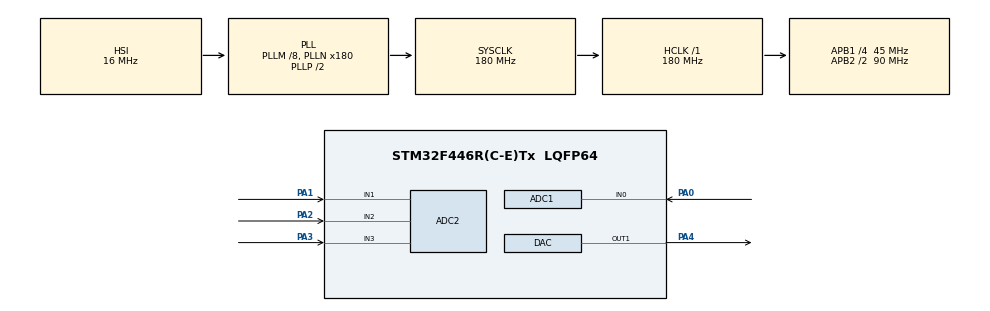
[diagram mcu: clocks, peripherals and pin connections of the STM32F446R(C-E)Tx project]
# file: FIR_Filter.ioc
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ADC1.Channel-0\#ChannelRegularConversion=ADC_CHANNEL_0
ADC1.DMAContinuousRequests=ENABLE
ADC1.ExternalTrigConv=ADC_EXTERNALTRIGCONV_T8_TRGO
ADC1.NbrOfConversionFlag=1
ADC1.Rank-0\#ChannelRegularConversion=1
ADC1.SamplingTime-0\#ChannelRegularConversion=ADC_SAMPLETIME_3CYCLES
ADC1.master=1
ADC2.Channel-0\#ChannelRegularConversion=ADC_CHANNEL_1
ADC2.Channel-1\#ChannelRegularConversion=ADC_CHANNEL_2
ADC2.Channel-2\#ChannelRegularConversion=ADC_CHANNEL_3
ADC2.ContinuousConvMode=ENABLE
ADC2.DMAContinuousRequests=ENABLE
ADC2.NbrOfConversion=3
ADC2.NbrOfConversionFlag=1
ADC2.Rank-0\#ChannelRegularConversion=1
ADC2.Rank-1\#ChannelRegularConversion=2
ADC2.Rank-2\#ChannelRegularConversion=3
ADC2.SamplingTime-0\#ChannelRegularConversion=ADC_SAMPLETIME_144CYCLES
ADC2.SamplingTime-1\#ChannelRegularConversion=ADC_SAMPLETIME_3CYCLES
ADC2.SamplingTime-2\#ChannelRegularConversion=ADC_SAMPLETIME_56CYCLES
ADC2.ScanConvMode=ENABLE
DAC.DAC_Trigger=DAC_TRIGGER_T8_TRGO
Dma.ADC1.1.Direction=DMA_PERIPH_TO_MEMORY
Dma.ADC1.1.FIFOMode=DMA_FIFOMODE_DISABLE
Dma.ADC1.1.Instance=DMA2_Stream0
Dma.ADC1.1.MemDataAlignment=DMA_MDATAALIGN_WORD
Dma.ADC1.1.MemInc=DMA_MINC_ENABLE
Dma.ADC1.1.Mode=DMA_CIRCULAR
Dma.ADC1.1.PeriphDataAlignment=DMA_PDATAALIGN_WORD
Dma.ADC1.1.PeriphInc=DMA_PINC_DISABLE
Dma.ADC1.1.Priority=DMA_PRIORITY_LOW
Dma.ADC2.2.Direction=DMA_PERIPH_TO_MEMORY
Dma.ADC2.2.FIFOMode=DMA_FIFOMODE_DISABLE
Dma.ADC2.2.Instance=DMA2_Stream2
Dma.ADC2.2.MemDataAlignment=DMA_MDATAALIGN_HALFWORD
Dma.ADC2.2.MemInc=DMA_MINC_ENABLE
Dma.ADC2.2.Mode=DMA_CIRCULAR
Dma.ADC2.2.PeriphDataAlignment=DMA_PDATAALIGN_HALFWORD
Dma.ADC2.2.PeriphInc=DMA_PINC_DISABLE
Dma.ADC2.2.Priority=DMA_PRIORITY_LOW
Dma.DAC1.0.Direction=DMA_MEMORY_TO_PERIPH
Dma.DAC1.0.FIFOMode=DMA_FIFOMODE_DISABLE
Dma.DAC1.0.Instance=DMA1_Stream5
Dma.DAC1.0.MemDataAlignment=DMA_MDATAALIGN_WORD
Dma.DAC1.0.MemInc=DMA_MINC_ENABLE
Dma.DAC1.0.Mode=DMA_CIRCULAR
Dma.DAC1.0.PeriphDataAlignment=DMA_PDATAALIGN_WORD
Dma.DAC1.0.PeriphInc=DMA_PINC_DISABLE
Dma.DAC1.0.Priority=DMA_PRIORITY_LOW
Dma.Request0=DAC1
Dma.Request1=ADC1
Dma.Request2=ADC2
Mcu.Family=STM32F4
Mcu.Name=STM32F446R(C-E)Tx
Mcu.Package=LQFP64
NVIC.DMA1_Stream5_IRQn=true\:0\:0\:false\:false\:true\:false\:true\:true
NVIC.DMA2_Stream0_IRQn=true\:0\:0\:false\:false\:true\:false\:true\:true
NVIC.DMA2_Stream2_IRQn=true\:0\:0\:false\:false\:true\:false\:true\:true
NVIC.PriorityGroup=NVIC_PRIORITYGROUP_4
PA0-WKUP.Signal=ADCx_IN0
PA1.Signal=ADCx_IN1
PA13.Mode=Serial_Wire
PA13.Signal=SYS_JTMS-SWDIO
PA14.Mode=Serial_Wire
PA14.Signal=SYS_JTCK-SWCLK
PA2.Signal=ADCx_IN2
PA3.Signal=ADCx_IN3
PA4.Signal=COMP_DAC1_group
PH0-OSC_IN.Mode=HSE-External-Oscillator
PH0-OSC_IN.Signal=RCC_OSC_IN
PH1-OSC_OUT.Mode=HSE-External-Oscillator
PH1-OSC_OUT.Signal=RCC_OSC_OUT
ProjectManager.HeapSize=0x200
ProjectManager.StackSize=0x400
ProjectManager.TargetToolchain=STM32CubeIDE
RCC.AHBFreq_Value=180000000
RCC.APB1CLKDivider=RCC_HCLK_DIV4
RCC.APB1Freq_Value=45000000
RCC.APB1TimFreq_Value=90000000
RCC.APB2CLKDivider=RCC_HCLK_DIV2
RCC.APB2Freq_Value=90000000
RCC.APB2TimFreq_Value=180000000
RCC.CortexFreq_Value=180000000
RCC.HCLKFreq_Value=180000000
RCC.PLLM=8
RCC.PLLN=180
RCC.SYSCLKFreq_VALUE=180000000
RCC.SYSCLKSource=RCC_SYSCLKSOURCE_PLLCLK
RCC.USBFreq_Value=180000000
RCC.VCOOutputFreq_Value=360000000
SH.ADCx_IN0.0=ADC1_IN0,IN0
SH.ADCx_IN1.0=ADC2_IN1,IN1
SH.ADCx_IN2.0=ADC2_IN2,IN2
SH.ADCx_IN3.0=ADC2_IN3,IN3
SH.COMP_DAC1_group.0=DAC_OUT1,DAC_OUT1
TIM8.Period=10
TIM8.Prescaler=450
TIM8.TIM_MasterOutputTrigger=TIM_TRGO_UPDATE
VP_TIM8_VS_ClockSourceINT.Mode=Internal
board=custom

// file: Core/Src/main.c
/* USER CODE BEGIN Header */
/**
  ******************************************************************************
  * @file           : main.c
  * @brief          : Ecualizador de 3 Bandas con Filtros FIR
  ******************************************************************************
  * @description
  * Este programa implementa un ecualizador de audio de 3 bandas (graves, medios,
  * agudos) utilizando filtros FIR (Finite Impulse Response) en un microcontrolador
  * STM32. El sistema procesa señales de audio en tiempo real mediante:
  *
  * - ADC1: Captura la señal de audio de entrada a través de DMA
  * - ADC2: Lee 3 potenciómetros para controlar las ganancias de cada banda
  * - DAC: Genera la señal de audio procesada
  * - TIM8: Sincroniza el muestreo del ADC y DAC
  * - ARM CMSIS-DSP: Biblioteca optimizada para procesamiento de señales
  *
  * El procesamiento se realiza en dos mitades del buffer (ping-pong) para
  * minimizar la latencia y evitar pérdida de muestras.
  *
  * @attention
  * Copyright (c) 2025 STMicroelectronics.
  * All rights reserved.
  ******************************************************************************
  */
/* USER CODE END Header */
#include "main.h"

/* USER CODE BEGIN Includes */
#include "arm_math.h" // Biblioteca CMSIS-DSP para procesamiento optimizado
/* USER CODE END Includes */

/* USER CODE BEGIN PD */

// ============================================================================
// CONFIGURACIÓN DE BUFFERS Y FILTROS
// ============================================================================

#define N 32                    // Tamaño total del buffer (muestras)
#define halfN N/2               // Mitad del buffer para procesamiento ping-pong
#define NUM_TAPS 32             // Número de coeficientes de cada filtro FIR

// ============================================================================
// CONFIGURACIÓN DE CONVERSIÓN ADC/DAC
// ============================================================================

// El ADC de 12 bits genera valores de 0 a 4095
// Para procesamiento de señales AC, centramos en 2047.5 (punto medio)
#define ADC_OFFSET 2047.5f      // Offset para centrar señal de entrada en cero
#define DAC_OFFSET 2047         // Offset para centrar señal de salida

/* USER CODE END PD */

ADC_HandleTypeDef hadc1;
ADC_HandleTypeDef hadc2;
DMA_HandleTypeDef hdma_adc1;
DMA_HandleTypeDef hdma_adc2;

DAC_HandleTypeDef hdac;
DMA_HandleTypeDef hdma_dac1;

TIM_HandleTypeDef htim8;

/* USER CODE BEGIN PV */

// ============================================================================
// BUFFERS DE ENTRADA/SALIDA
// ============================================================================

// Buffer circular para captura de audio (valores ADC de 12 bits)
uint32_t adc_buffer[N];

// Buffer circular para salida de audio (valores DAC de 12 bits)
uint32_t dac_buffer[N];

// ============================================================================
// BUFFERS DE PROCESAMIENTO DE SEÑALES (punto flotante para precisión)
// ============================================================================

// Buffer de entrada para filtros (señal centrada en cero)
float32_t filt_in[N];

// Buffer de salida combinada (suma de las 3 bandas)
float32_t filt_out[N];

// Buffers de salida individuales para cada banda de frecuencia
float32_t filt_out_low[N];      // Salida filtro pasa-bajos (graves)
float32_t filt_out_mid[N];      // Salida filtro pasa-banda (medios)
float32_t filt_out_high[N];     // Salida filtro pasa-altos (agudos)

// Punteros para acceso directo a los buffers (optimización)
float32_t *filt_in_ptr = &filt_in[0];
float32_t *filt_out_ptr = &filt_out[0];
float32_t *filt_out_low_ptr = &filt_out_low[0];
float32_t *filt_out_mid_ptr = &filt_out_mid[0];
float32_t *filt_out_high_ptr = &filt_out_high[0];

// ============================================================================
// ESTRUCTURAS DE FILTROS FIR (ARM CMSIS-DSP)
// ============================================================================

// Instancias de filtros FIR para cada banda
arm_fir_instance_f32 filterLow;   // Filtro pasa-bajos: deja pasar graves
arm_fir_instance_f32 filterBand;  // Filtro pasa-banda: deja pasar medios
arm_fir_instance_f32 filterHigh;  // Filtro pasa-altos: deja pasar agudos

// Buffers de estado para cada filtro (necesarios para FIR con memoria)
// Tamaño: halfN + NUM_TAPS - 1 (requerido por CMSIS-DSP)
float32_t StateLow[halfN + NUM_TAPS - 1];
float32_t StateMid[halfN + NUM_TAPS - 1];
float32_t StateHigh[halfN + NUM_TAPS - 1];

// ============================================================================
// COEFICIENTES DE FILTROS FIR
// ============================================================================

/**
 * Coeficientes del filtro pasa-bajos (Lowpass)
 * Permite el paso de frecuencias bajas (graves)
 * Diseñado con respuesta simétrica (fase lineal)
 */
float32_t LowCoeffs[NUM_TAPS] = {
		0.028314228399935807006793098139496578369,
		0.028677143031090316510622884038639313076,
		0.02901982347161971911853051153684646124 ,
		0.029341653042583251687069889612757833675,
		0.029642051039593286104745217812705959659,
		0.029920474095872975212051514404265617486,
		0.030176417459572918433607924271200317889,
		0.030409416181928369815601342907029902562,
		0.030619046213074270490483996809416566975,
		0.030804925402580399934615584811581356917,
		0.030966714402022359198252132728157448582,
		0.031104117467165303539955445444320503157,
		0.031216883157605550963564766675517603289,
		0.031304804931989942129444415286343428306,
		0.031367721637212304941488838494478841312,
		0.031405517890271482384090262485187849961,
		0.031418124351763429547013117826281813905,
		0.031405517890271482384090262485187849961,
		0.031367721637212304941488838494478841312,
		0.031304804931989942129444415286343428306,
		0.031216883157605550963564766675517603289,
		0.031104117467165303539955445444320503157,
		0.030966714402022359198252132728157448582,
		0.030804925402580399934615584811581356917,
		0.030619046213074270490483996809416566975,
		0.030409416181928369815601342907029902562,
		0.030176417459572918433607924271200317889,
		0.029920474095872975212051514404265617486,
		0.029642051039593286104745217812705959659,
		0.029341653042583251687069889612757833675,
		0.02901982347161971911853051153684646124 ,
		0.028677143031090316510622884038639313076
};

/**
 * Coeficientes del filtro pasa-banda (Bandpass)
 * Permite el paso de frecuencias medias
 * Atenúa tanto graves como agudos
 */
float32_t BandCoeffs[NUM_TAPS] = {
		 0                                        ,
		-0.000053366635373974343945456533244708908,
		-0.000009197839776747510521105050118606528,
		 0.000353535997103919161742291432659612838,
		 0.000805629039306712704630875077072005297,
		 0.000328211799665740003306702021745877573,
		-0.002737517146227729653018556632559921127,
		-0.009669687214123487764561026835963275516,
		-0.019644837546352478946376507451532233972,
		-0.028312875036357761787675357822990918066,
		-0.028081891735227539758090742338936252054,
		-0.01091458299741123079418247954208709416 ,
		 0.027132120920916418665980174296237237286,
		 0.081977606714179376834472634527628542855,
		 0.140902208399525441517852186734671704471,
		 0.186476132730579891028099837058107368648,
		 0.203646383744244263702682928851572796702,
		 0.186476132730579891028099837058107368648,
		 0.140902208399525441517852186734671704471,
		 0.081977606714179376834472634527628542855,
		 0.027132120920916418665980174296237237286,
		-0.01091458299741123079418247954208709416 ,
		-0.028081891735227539758090742338936252054,
		-0.028312875036357761787675357822990918066,
		-0.019644837546352478946376507451532233972,
		-0.009669687214123487764561026835963275516,
		-0.002737517146227729653018556632559921127,
		 0.000328211799665740003306702021745877573,
		 0.000805629039306712704630875077072005297,
		 0.000353535997103919161742291432659612838,
		-0.000009197839776747510521105050118606528,
		-0.000053366635373974343945456533244708908
};

/**
 * Coeficientes del filtro pasa-altos (Highpass)
 * Permite el paso de frecuencias altas (agudos)
 * Atenúa frecuencias bajas
 */
float32_t HighCoeffs[NUM_TAPS] = {
		 0.001511545109837736334743030219840420614,
		 0.001882591379028836610712294152847334772,
		 0.002483585545241961348855719293737820408,
		 0.003116059534362420647968239251213162788,
		 0.003343310614823753919300219905608173576,
		 0.002539929188056473403217738749049203761,
		-0.000000000000000015585067345520673885766,
		-0.004914128527513412537930381773776389309,
		-0.012611514421013634429380445567403512541,
		-0.023134852490067567276632587436324683949,
		-0.036077275462792365856579124283598503098,
		-0.050576523872093027967000722355805919506,
		-0.065394665302038482157520604687306331471,
		-0.079074464358267398944590809151122812182,
		-0.090147533401616602999339988855354022235,
		-0.097357957089300478648041803353407885879,
		 0.898746402163526969530948917963542044163,
		-0.097357957089300478648041803353407885879,
		-0.090147533401616602999339988855354022235,
		-0.079074464358267398944590809151122812182,
		-0.065394665302038482157520604687306331471,
		-0.050576523872093027967000722355805919506,
		-0.036077275462792365856579124283598503098,
		-0.023134852490067567276632587436324683949,
		-0.012611514421013634429380445567403512541,
		-0.004914128527513412537930381773776389309,
		-0.000000000000000015585067345520673885766,
		 0.002539929188056473403217738749049203761,
		 0.003343310614823753919300219905608173576,
		 0.003116059534362420647968239251213162788,
		 0.002483585545241961348855719293737820408,
		 0.001882591379028836610712294152847334772
};

// ============================================================================
// VARIABLES DE CONTROL DE GANANCIA
// ============================================================================

// Ganancias lineales aplicadas a cada banda (multiplicadores)
float32_t gainLow;    // Ganancia para graves (0.1 a 10.0 aprox.)
float32_t gainMid;    // Ganancia para medios (0.1 a 10.0 aprox.)
float32_t gainHigh;   // Ganancia para agudos (0.1 a 10.0 aprox.)

// Valores de ganancia en decibelios leídos de los potenciómetros
float32_t db_low;     // Ganancia en dB para graves (-20 a +20 dB)
float32_t db_mid;     // Ganancia en dB para medios (-20 a +20 dB)
float32_t db_high;    // Ganancia en dB para agudos (-20 a +20 dB)

// ============================================================================
// BUFFER DE CONTROL (POTENCIÓMETROS)
// ============================================================================

// Buffer para los 3 canales del ADC2 (potenciómetros de control)
// [0]: Potenciómetro graves
// [1]: Potenciómetro medios
// [2]: Potenciómetro agudos
uint32_t ADC_VAL[3];

// Bandera para indicar que hay nuevos valores de los potenciómetros
volatile uint8_t adc2_ready = 0;

/* USER CODE END PV */

void SystemClock_Config(void);
static void MX_GPIO_Init(void);
static void MX_DMA_Init(void);
static void MX_DAC_Init(void);
static void MX_ADC1_Init(void);
static void MX_TIM8_Init(void);
static void MX_ADC2_Init(void);
/* USER CODE BEGIN PFP */

/**
 * @brief Mapea un valor de un rango a otro linealmente.
 *
 * @param x Valor a mapear
 * @param in_min Valor mínimo del rango de entrada
 * @param in_max Valor máximo del rango de entrada
 * @param out_min Valor mínimo del rango de salida
 * @param out_max Valor máximo del rango de salida
 * @return float32_t Valor mapeado al rango de salida
 *
 * @details
 * Esta función realiza una interpolación lineal para convertir un valor
 * de un rango a otro. Es útil para convertir lecturas del ADC (0-4095)
 * a valores de ganancia en decibelios (-20 a +20 dB).
 *
 * Fórmula: y = m * x + b
 * donde: m = (out_max - out_min) / (in_max - in_min)
 *        b = out_min - m * in_min
 *
 * @example
 * // Convertir lectura ADC a dB
 * float db = map_float(2048, 0, 4095, -20.0f, 20.0f);  // Resultado: ~0 dB
 */
float32_t map_float(uint32_t x, uint32_t in_min, uint32_t in_max, float32_t out_min, float32_t out_max);

/**
 * @brief Convierte una ganancia en decibelios a ganancia lineal.
 *
 * @param db Ganancia en decibelios
 * @return float32_t Ganancia lineal (multiplicador)
 *
 * @details
 * Convierte un valor de ganancia expresado en decibelios (dB) a su
 * equivalente lineal que puede ser aplicado como multiplicador.
 *
 * Fórmula: ganancia_lineal = 10^(dB/20)
 *
 * Ejemplos de conversión:
 * - 0 dB   → 1.0   (sin cambio)
 * - +6 dB  → 2.0   (doble amplitud)
 * - -6 dB  → 0.5   (mitad de amplitud)
 * - +20 dB → 10.0  (diez veces la amplitud)
 * - -20 dB → 0.1   (décima parte de la amplitud)
 */
float32_t gain_db_to_linear(float32_t db);

/* USER CODE END PFP */

int main(void)
{

  /* MCU Configuration--------------------------------------------------------*/

  /* Reset of all peripherals, Initializes the Flash interface and the Systick. */
  HAL_Init();

  /* Configure the system clock */
  SystemClock_Config();

  /* Initialize all configured peripherals */
  MX_GPIO_Init();
  MX_DMA_Init();
  MX_DAC_Init();
  MX_ADC1_Init();
  MX_TIM8_Init();
  MX_ADC2_Init();
  /* USER CODE BEGIN 2 */

  // ============================================================================
  // INICIO DE PERIFÉRICOS CON DMA
  // ============================================================================

  // Inicia ADC1 para capturar audio continuamente
  // - Modo circular: cuando llena el buffer, vuelve al inicio
  // - Genera interrupciones al completar la mitad y el buffer completo
  HAL_ADC_Start_DMA(&hadc1, adc_buffer, N);

  // Inicia ADC2 para leer los 3 potenciómetros
  // - Modo continuo: actualiza constantemente los valores
  HAL_ADC_Start_DMA(&hadc2, ADC_VAL, 3);

  // Inicia DAC para generar la señal de audio procesada
  // - Sincronizado con TIM8 para mantener la frecuencia de muestreo
  // - Alineación a la derecha de 12 bits
  HAL_DAC_Start_DMA(&hdac, DAC_CHANNEL_1, dac_buffer, N, DAC_ALIGN_12B_R);

  // Inicia el timer que sincroniza ADC y DAC
  HAL_TIM_Base_Start(&htim8);

  // ============================================================================
  // INICIALIZACIÓN DE FILTROS FIR
  // ============================================================================

  // Inicializa filtro pasa-bajos (graves)
  // Parámetros: instancia, num_taps, coeficientes, buffer_estado, tamaño_bloque
  arm_fir_init_f32(&filterLow, NUM_TAPS, &LowCoeffs[0], &StateLow[0], halfN);

  // Inicializa filtro pasa-banda (medios)
  arm_fir_init_f32(&filterBand, NUM_TAPS, &BandCoeffs[0], &StateMid[0], halfN);

  // Inicializa filtro pasa-altos (agudos)
  arm_fir_init_f32(&filterHigh, NUM_TAPS, &HighCoeffs[0], &StateHigh[0], halfN);
  /* USER CODE END 2 */

  /* Infinite loop */
  /* USER CODE BEGIN WHILE */
  while (1)
  {
    // ========================================================================
	  // ACTUALIZACIÓN DE GANANCIAS
	  // ========================================================================

    // Verifica si hay nuevos valores de los potenciómetros
	  if(adc2_ready)
	  {
		  adc2_ready = 0;  // Limpia la bandera

		  // Convierte las lecturas ADC (0-4095) a ganancia en dB (-20 a +20)
		  // Rango conservador para evitar saturación excesiva
		  db_low = map_float(ADC_VAL[0], 0, 4095, -20.0f, 20.0f);
		  db_mid = map_float(ADC_VAL[1], 0, 4095, -20.0f, 20.0f);
		  db_high = map_float(ADC_VAL[2], 0, 4095, -20.0f, 20.0f);

		  // Convierte los valores en dB a ganancia lineal
		  // Estas variables serán leídas en las interrupciones del ADC
		  gainLow = gain_db_to_linear(db_low);
		  gainMid = gain_db_to_linear(db_mid);
		  gainHigh = gain_db_to_linear(db_high);
	  }
    /* USER CODE END WHILE */

  }
}

void SystemClock_Config(void)
{
  RCC_OscInitTypeDef RCC_OscInitStruct = {0};
  RCC_ClkInitTypeDef RCC_ClkInitStruct = {0};

  /** Configure the main internal regulator output voltage
  */
  __HAL_RCC_PWR_CLK_ENABLE();
  __HAL_PWR_VOLTAGESCALING_CONFIG(PWR_REGULATOR_VOLTAGE_SCALE1);

  /** Initializes the RCC Oscillators according to the specified parameters
  * in the RCC_OscInitTypeDef structure.
  */
  RCC_OscInitStruct.OscillatorType = RCC_OSCILLATORTYPE_HSI;
  RCC_OscInitStruct.HSIState = RCC_HSI_ON;
  RCC_OscInitStruct.HSICalibrationValue = RCC_HSICALIBRATION_DEFAULT;
  RCC_OscInitStruct.PLL.PLLState = RCC_PLL_ON;
  RCC_OscInitStruct.PLL.PLLSource = RCC_PLLSOURCE_HSI;
  RCC_OscInitStruct.PLL.PLLM = 8;
  RCC_OscInitStruct.PLL.PLLN = 180;
  RCC_OscInitStruct.PLL.PLLP = RCC_PLLP_DIV2;
  RCC_OscInitStruct.PLL.PLLQ = 2;
  RCC_OscInitStruct.PLL.PLLR = 2;
  if (HAL_RCC_OscConfig(&RCC_OscInitStruct) != HAL_OK)
  {
    Error_Handler();
  }

  /** Activate the Over-Drive mode
  */
  if (HAL_PWREx_EnableOverDrive() != HAL_OK)
  {
    Error_Handler();
  }

  /** Initializes the CPU, AHB and APB buses clocks
  */
  RCC_ClkInitStruct.ClockType = RCC_CLOCKTYPE_HCLK|RCC_CLOCKTYPE_SYSCLK
                              |RCC_CLOCKTYPE_PCLK1|RCC_CLOCKTYPE_PCLK2;
  RCC_ClkInitStruct.SYSCLKSource = RCC_SYSCLKSOURCE_PLLCLK;
  RCC_ClkInitStruct.AHBCLKDivider = RCC_SYSCLK_DIV1;
  RCC_ClkInitStruct.APB1CLKDivider = RCC_HCLK_DIV4;
  RCC_ClkInitStruct.APB2CLKDivider = RCC_HCLK_DIV2;

  if (HAL_RCC_ClockConfig(&RCC_ClkInitStruct, FLASH_LATENCY_5) != HAL_OK)
  {
    Error_Handler();
  }
}

static void MX_ADC1_Init(void)
{

  ADC_ChannelConfTypeDef sConfig = {0};

  /** Configure the global features of the ADC (Clock, Resolution, Data Alignment and number of conversion)
  */
  hadc1.Instance = ADC1;
  hadc1.Init.ClockPrescaler = ADC_CLOCK_SYNC_PCLK_DIV4;
  hadc1.Init.Resolution = ADC_RESOLUTION_12B;
  hadc1.Init.ScanConvMode = DISABLE;
  hadc1.Init.ContinuousConvMode = DISABLE;
  hadc1.Init.DiscontinuousConvMode = DISABLE;
  hadc1.Init.ExternalTrigConvEdge = ADC_EXTERNALTRIGCONVEDGE_RISING;
  hadc1.Init.ExternalTrigConv = ADC_EXTERNALTRIGCONV_T8_TRGO;
  hadc1.Init.DataAlign = ADC_DATAALIGN_RIGHT;
  hadc1.Init.NbrOfConversion = 1;
  hadc1.Init.DMAContinuousRequests = ENABLE;
  hadc1.Init.EOCSelection = ADC_EOC_SINGLE_CONV;
  if (HAL_ADC_Init(&hadc1) != HAL_OK)
  {
    Error_Handler();
  }

  /** Configure for the selected ADC regular channel its corresponding rank in the sequencer and its sample time.
  */
  sConfig.Channel = ADC_CHANNEL_0;
  sConfig.Rank = 1;
  sConfig.SamplingTime = ADC_SAMPLETIME_3CYCLES;
  if (HAL_ADC_ConfigChannel(&hadc1, &sConfig) != HAL_OK)
  {
    Error_Handler();
  }

}

static void MX_ADC2_Init(void)
{

  ADC_ChannelConfTypeDef sConfig = {0};

  /** Configure the global features of the ADC (Clock, Resolution, Data Alignment and number of conversion)
  */
  hadc2.Instance = ADC2;
  hadc2.Init.ClockPrescaler = ADC_CLOCK_SYNC_PCLK_DIV4;
  hadc2.Init.Resolution = ADC_RESOLUTION_12B;
  hadc2.Init.ScanConvMode = ENABLE;
  hadc2.Init.ContinuousConvMode = ENABLE;
  hadc2.Init.DiscontinuousConvMode = DISABLE;
  hadc2.Init.ExternalTrigConvEdge = ADC_EXTERNALTRIGCONVEDGE_NONE;
  hadc2.Init.ExternalTrigConv = ADC_SOFTWARE_START;
  hadc2.Init.DataAlign = ADC_DATAALIGN_RIGHT;
  hadc2.Init.NbrOfConversion = 3;
  hadc2.Init.DMAContinuousRequests = ENABLE;
  hadc2.Init.EOCSelection = ADC_EOC_SINGLE_CONV;
  if (HAL_ADC_Init(&hadc2) != HAL_OK)
  {
    Error_Handler();
  }

  /** Configure for the selected ADC regular channel its corresponding rank in the sequencer and its sample time.
  */
  sConfig.Channel = ADC_CHANNEL_1;
  sConfig.Rank = 1;
  sConfig.SamplingTime = ADC_SAMPLETIME_144CYCLES;
  if (HAL_ADC_ConfigChannel(&hadc2, &sConfig) != HAL_OK)
  {
    Error_Handler();
  }

  /** Configure for the selected ADC regular channel its corresponding rank in the sequencer and its sample time.
  */
  sConfig.Channel = ADC_CHANNEL_2;
  sConfig.Rank = 2;
  sConfig.SamplingTime = ADC_SAMPLETIME_3CYCLES;
  if (HAL_ADC_ConfigChannel(&hadc2, &sConfig) != HAL_OK)
  {
    Error_Handler();
  }

  /** Configure for the selected ADC regular channel its corresponding rank in the sequencer and its sample time.
  */
  sConfig.Channel = ADC_CHANNEL_3;
  sConfig.Rank = 3;
  sConfig.SamplingTime = ADC_SAMPLETIME_56CYCLES;
  if (HAL_ADC_ConfigChannel(&hadc2, &sConfig) != HAL_OK)
  {
    Error_Handler();
  }

}

static void MX_DAC_Init(void)
{

  DAC_ChannelConfTypeDef sConfig = {0};

  /** DAC Initialization
  */
  hdac.Instance = DAC;
  if (HAL_DAC_Init(&hdac) != HAL_OK)
  {
    Error_Handler();
  }

  /** DAC channel OUT1 config
  */
  sConfig.DAC_Trigger = DAC_TRIGGER_T8_TRGO;
  sConfig.DAC_OutputBuffer = DAC_OUTPUTBUFFER_ENABLE;
  if (HAL_DAC_ConfigChannel(&hdac, &sConfig, DAC_CHANNEL_1) != HAL_OK)
  {
    Error_Handler();
  }

}

static void MX_TIM8_Init(void)
{

  TIM_ClockConfigTypeDef sClockSourceConfig = {0};
  TIM_MasterConfigTypeDef sMasterConfig = {0};

  htim8.Instance = TIM8;
  htim8.Init.Prescaler = 450;
  htim8.Init.CounterMode = TIM_COUNTERMODE_UP;
  htim8.Init.Period = 10;
  htim8.Init.ClockDivision = TIM_CLOCKDIVISION_DIV1;
  htim8.Init.RepetitionCounter = 0;
  htim8.Init.AutoReloadPreload = TIM_AUTORELOAD_PRELOAD_DISABLE;
  if (HAL_TIM_Base_Init(&htim8) != HAL_OK)
  {
    Error_Handler();
  }
  sClockSourceConfig.ClockSource = TIM_CLOCKSOURCE_INTERNAL;
  if (HAL_TIM_ConfigClockSource(&htim8, &sClockSourceConfig) != HAL_OK)
  {
    Error_Handler();
  }
  sMasterConfig.MasterOutputTrigger = TIM_TRGO_UPDATE;
  sMasterConfig.MasterSlaveMode = TIM_MASTERSLAVEMODE_DISABLE;
  if (HAL_TIMEx_MasterConfigSynchronization(&htim8, &sMasterConfig) != HAL_OK)
  {
    Error_Handler();
  }

}

static void MX_DMA_Init(void)
{

  /* DMA controller clock enable */
  __HAL_RCC_DMA1_CLK_ENABLE();
  __HAL_RCC_DMA2_CLK_ENABLE();

  /* DMA interrupt init */
  /* DMA1_Stream5_IRQn interrupt configuration */
  HAL_NVIC_SetPriority(DMA1_Stream5_IRQn, 0, 0);
  HAL_NVIC_EnableIRQ(DMA1_Stream5_IRQn);
  /* DMA2_Stream0_IRQn interrupt configuration */
  HAL_NVIC_SetPriority(DMA2_Stream0_IRQn, 0, 0);
  HAL_NVIC_EnableIRQ(DMA2_Stream0_IRQn);
  /* DMA2_Stream2_IRQn interrupt configuration */
  HAL_NVIC_SetPriority(DMA2_Stream2_IRQn, 0, 0);
  HAL_NVIC_EnableIRQ(DMA2_Stream2_IRQn);

}

static void MX_GPIO_Init(void)
{

  /* GPIO Ports Clock Enable */
  __HAL_RCC_GPIOH_CLK_ENABLE();
  __HAL_RCC_GPIOA_CLK_ENABLE();

}

/* USER CODE BEGIN 4 */

// ============================================================================
// CALLBACKS DE INTERRUPCIONES DMA
// ============================================================================

/**
  * @brief Callback cuando se completa la primera mitad del buffer ADC
  * @details Esta función se ejecuta automáticamente cuando el DMA llena
  *          la primera mitad del buffer de captura. Implementa el esquema
  *          de "ping-pong" o doble buffer para procesamiento en tiempo real.
  *
  * FLUJO DE PROCESAMIENTO:
  * 1. Conversión ADC → float y centrado en cero
  * 2. Aplicación de filtros FIR a cada banda
  * 3. Aplicación de ganancias individuales
  * 4. Suma de las 3 bandas
  * 5. Restauración de offset y limitación
  * 6. Conversión a valores DAC
  *
  * @param hadc Puntero al handle del ADC que generó la interrupción
  * @retval None
  */
void HAL_ADC_ConvHalfCpltCallback(ADC_HandleTypeDef *hadc)
{
	if(hadc->Instance == ADC1)
	{

    // ====================================================================
		// PASO 1: CONVERSIÓN Y CENTRADO DE LA SEÑAL
		// ====================================================================

    // Procesa la primera mitad del buffer (0 a halfN-1)
		// Convierte de uint32_t (0-4095) a float32_t centrado en cero
		// Ejemplo: 2047 → -0.5, 2048 → 0.5, 4095 → 2047.5
		for(int n = 0; n < halfN; n++)
		{
			filt_in[n] = (float32_t)adc_buffer[n] - ADC_OFFSET;
		}

    // ====================================================================

    // ====================================================================
		// PASO 2: APLICACIÓN DE FILTROS FIR
		// ====================================================================

		// Filtra graves (pasa-bajos): deja pasar frecuencias bajas
		arm_fir_f32(&filterLow, filt_in_ptr, filt_out_low_ptr, halfN);

		// Filtra medios (pasa-banda): deja pasar frecuencias medias
		arm_fir_f32(&filterBand, filt_in_ptr, filt_out_mid_ptr, halfN);

		// Filtra agudos (pasa-altos): deja pasar frecuencias altas
		arm_fir_f32(&filterHigh, filt_in_ptr, filt_out_high_ptr, halfN);

    // ====================================================================

    // ====================================================================
		// PASO 3: COPIA LOCAL DE GANANCIAS (evita race conditions)
		// ====================================================================

    // Las ganancias pueden ser modificadas por el main loop
		// Copiamos a variables locales para garantizar consistencia
		float32_t local_gainLow = gainLow;
		float32_t local_gainMid = gainMid;
		float32_t local_gainHigh = gainHigh;

    // ====================================================================

    // ====================================================================
		// PASO 4: APLICACIÓN DE GANANCIAS
		// ====================================================================

    // Multiplica cada banda por su ganancia correspondiente
		// arm_scale_f32 es una función optimizada de CMSIS-DSP
		arm_scale_f32(filt_out_low_ptr, local_gainLow, filt_out_low_ptr, halfN);
		arm_scale_f32(filt_out_mid_ptr, local_gainMid, filt_out_mid_ptr, halfN);
		arm_scale_f32(filt_out_high_ptr, local_gainHigh, filt_out_high_ptr, halfN);

    // ====================================================================

    // ====================================================================
		// PASO 5: SUMA DE BANDAS Y CONVERSIÓN A DAC
		// ====================================================================
		for(int n = 0; n<halfN; n++)
		{
      // Suma las 3 bandas filtradas y escaladas
			filt_out[n] = filt_out_low[n] + filt_out_mid[n] + filt_out_high[n];

			// Restaura el offset DC para el DAC (centrar en 2047.5)
			float32_t dac_val = filt_out[n] + ADC_OFFSET;

      // Limita el valor para prevenir overflow del DAC
			// El DAC solo acepta valores de 0 a 4095 (12 bits)
			if(dac_val > 4095.0f) dac_val = 4095.0f;
			if(dac_val < 0.0f) dac_val = 0.0f;

      // Convierte a entero para el DAC
			dac_buffer[n] = (uint32_t)dac_val;
		}
	}
	else if(hadc->Instance == ADC2)
	{
    // ADC2 completó lectura de potenciómetros
		// Señaliza al main loop que hay nuevos valores disponibles
		adc2_ready = 1;
	}
}

/**
  * @brief Callback cuando se completa el buffer completo del ADC
  * @details Similar a HAL_ADC_ConvHalfCpltCallback pero procesa la
  *          segunda mitad del buffer (halfN a N-1).
  *
  * Este callback se ejecuta cuando el DMA termina de llenar todo el buffer
  * y vuelve al inicio (modo circular). Mientras se procesa esta mitad,
  * el DMA está llenando la primera mitad, implementando el esquema ping-pong.
  *
  * @param hadc Puntero al handle del ADC que generó la interrupción
  * @retval None
  */
void HAL_ADC_ConvCpltCallback(ADC_HandleTypeDef *hadc)
{
	if(hadc->Instance == ADC1)
	{

    // ====================================================================
		// PASO 1: CONVERSIÓN Y CENTRADO DE LA SEÑAL
		// ====================================================================

		// Procesa la segunda mitad del buffer (halfN a N-1)
		for(int n = halfN; n<N; n++)
		{
			filt_in[n] = (float32_t)adc_buffer[n] - ADC_OFFSET;
		}

    // ====================================================================

    // ====================================================================
		// PASO 2: APLICACIÓN DE FILTROS FIR
		// ====================================================================

		// Nota: Se suman offsets a los punteros para procesar la segunda mitad
		arm_fir_f32(&filterLow, filt_in_ptr + halfN, filt_out_low_ptr + halfN, halfN);
		arm_fir_f32(&filterBand, filt_in_ptr + halfN, filt_out_mid_ptr + halfN, halfN);
		arm_fir_f32(&filterHigh, filt_in_ptr + halfN, filt_out_high_ptr + halfN, halfN);

    // ====================================================================

    // ====================================================================
		// PASO 3: COPIA LOCAL DE GANANCIAS
		// ====================================================================

		float32_t local_gainLow = gainLow;
		float32_t local_gainMid = gainMid;
		float32_t local_gainHigh = gainHigh;

    // ====================================================================

    // ====================================================================
		// PASO 4: APLICACIÓN DE GANANCIAS
		// ====================================================================

		arm_scale_f32(filt_out_low_ptr + halfN, local_gainLow, filt_out_low_ptr + halfN, halfN);
		arm_scale_f32(filt_out_mid_ptr + halfN, local_gainMid, filt_out_mid_ptr + halfN, halfN);
		arm_scale_f32(filt_out_high_ptr + halfN, local_gainHigh, filt_out_high_ptr + halfN, halfN);

    // ====================================================================

    // ====================================================================
		// PASO 5: SUMA DE BANDAS Y CONVERSIÓN A DAC
		// ====================================================================

		for(int n = halfN; n<N; n++)
		{
			filt_out[n] = filt_out_low[n] + filt_out_mid[n] + filt_out_high[n];

			// Restaurar offset y limitar
			float32_t dac_val = filt_out[n] + ADC_OFFSET;

			if(dac_val > 4095.0f) dac_val = 4095.0f;
			if(dac_val < 0.0f) dac_val = 0.0f;

			dac_buffer[n] = (uint32_t)dac_val;
		}
	}
	else if(hadc->Instance == ADC2)
	{
    // ADC2 completó lectura de potenciómetros
		adc2_ready = 1;
	}
}

// ============================================================================
// FUNCIONES AUXILIARES
// ============================================================================

/**
 * @brief Mapea un valor de un rango a otro linealmente.
 *
 * @param x Valor a mapear
 * @param in_min Valor mínimo del rango de entrada
 * @param in_max Valor máximo del rango de entrada
 * @param out_min Valor mínimo del rango de salida
 * @param out_max Valor máximo del rango de salida
 * @return float32_t Valor mapeado al rango de salida
 *
 * @details
 * Esta función implementa una transformación lineal (interpolación) que
 * convierte un valor de un rango de entrada a un rango de salida.
 *
 * La transformación se calcula mediante la ecuación de una recta:
 *   y = m * x + b
 *
 * donde:
 *   m = (out_max - out_min) / (in_max - in_min)  [pendiente]
 *   b = out_min - m * in_min                      [intersección]
 *
 * Reorganizando para optimizar el cálculo:
 *   y = ((x - in_min) * (out_max - out_min)) / (in_max - in_min) + out_min
 *
 * @example
 * // Convertir el centro del rango ADC (2048) a 0 dB
 * float db = map_float(2048, 0, 4095, -20.0f, 20.0f);
 * // Resultado: db ≈ 0.0
 *
 * // Convertir el máximo ADC (4095) a +20 dB
 * float db_max = map_float(4095, 0, 4095, -20.0f, 20.0f);
 * // Resultado: db_max = 20.0
 *
 * // Convertir el mínimo ADC (0) a -20 dB
 * float db_min = map_float(0, 0, 4095, -20.0f, 20.0f);
 * // Resultado: db_min = -20.0
 */
float32_t map_float(uint32_t x, uint32_t in_min, uint32_t in_max, float32_t out_min, float32_t out_max)
{
	return ((float32_t)(x - in_min) * (out_max - out_min)) / ((float32_t)(in_max - in_min)) + out_min;
}

/**
 * @brief Convierte una ganancia en decibelios a ganancia lineal.
 *
 * @param db Ganancia en decibelios (puede ser negativa, positiva o cero)
 * @return float32_t Ganancia lineal (siempre positiva)
 *
 * @details
 * Los decibelios (dB) son una escala logarítmica para expresar ganancias
 * o atenuaciones. Para aplicar una ganancia a una señal, necesitamos
 * convertirla a escala lineal (multiplicador).
 *
 * Fórmula de conversión:
 *   ganancia_lineal = 10^(dB/20)
 *
 * La razón del divisor 20 (no 10) es porque trabajamos con amplitud,
 * no con potencia. La relación es:
 *   - Para potencia: dB = 10 * log10(P2/P1)
 *   - Para amplitud: dB = 20 * log10(A2/A1)
 *
 * Tabla de conversión de referencia:
 * ┌──────────┬─────────────┬────────────────────────┐
 * │    dB    │   Lineal    │      Descripción       │
 * ├──────────┼─────────────┼────────────────────────┤
 * │  -20 dB  │    0.100    │ Reduce a 1/10          │
 * │  -12 dB  │    0.251    │ Reduce a ~1/4          │
 * │   -6 dB  │    0.501    │ Reduce a la mitad      │
 * │   -3 dB  │    0.708    │ Reduce ~29%            │
 * │    0 dB  │    1.000    │ Sin cambio (unidad)    │
 * │   +3 dB  │    1.413    │ Aumenta ~41%           │
 * │   +6 dB  │    1.995    │ Duplica (x2)           │
 * │  +12 dB  │    3.981    │ Cuadruplica (x4)       │
 * │  +20 dB  │   10.000    │ Multiplica por 10      │
 * └──────────┴─────────────┴────────────────────────┘
 *
 * @note La función powf() puede ser costosa computacionalmente.
 *       Para optimización, considerar usar tablas de lookup (LUT)
 *       si se necesita procesar en tiempo crítico.
 *
 * @example
 * float gain = gain_db_to_linear(6.0f);   // gain = 1.995 (casi x2)
 * float signal_out = signal_in * gain;     // Duplica la amplitud
 *
 * float attenuation = gain_db_to_linear(-6.0f);  // attenuation = 0.501
 * float signal_out = signal_in * attenuation;     // Reduce a la mitad
 */
float32_t gain_db_to_linear(float32_t db) {
    return powf(10.0f, db / 20.0f);
}
/* USER CODE END 4 */

void Error_Handler(void)
{
  __disable_irq();
  while (1)
  {
  }
}
